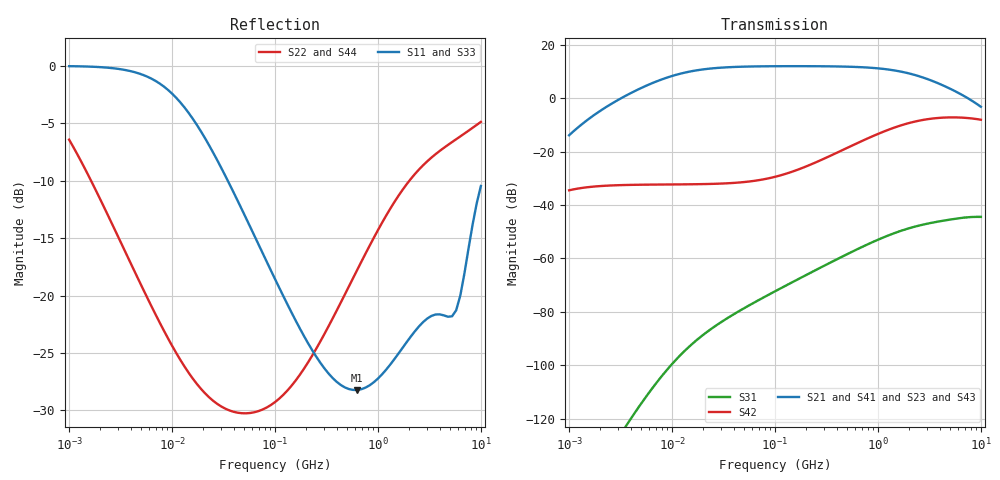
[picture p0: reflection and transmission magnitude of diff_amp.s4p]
! 4-Port simulation of a differential amplifier
! Ports:
!  1 o--| +  + |--o 2
!  |In  Out|
!  3 o--| -  - |--o 4
! This network can be used to verify the single-ended to mixed-mode conversion:
!  nw("diff_amp.s4p").s2m("P1,P2,N1,N2").plot_sel_params()
[Version] 2.0
# HZ S RI R 50
[Number of Ports] 4
[Reference] 50 50 50 50
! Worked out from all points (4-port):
!   101 points, 1 MHz to 10 GHz, reference 50 ohm
!   strongest paths, dB at 1 MHz, 10 MHz, 100 MHz, 1 GHz, 10 GHz:
!     S21: -13.9, 8.3, 12.0, 11.2, -3.2
!     S41: -13.8, 8.3, 12.0, 11.2, -3.1
!     S23: -13.7, 8.3, 11.9, 11.2, -3.2
!     S43: -13.6, 8.3, 11.9, 11.1, -3.3
!     S42: -34.5, -32.3, -29.5, -13.4, -8.1
!     S31: -159.7, -99.6, -72.3, -53.0, -44.5
!   lowest |S11| = -28.2 dB at 631 MHz (marker M1), VSWR 1.08, Z = 50.9 + j3.81 ohm
!   |S11| at or under -10 dB: 34.83 MHz to end of sweep
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[Number of Frequencies] 7
[Network Data]
1000000  0.0193 -0.9981  -5.13e-10 -7.68e-10  9.62e-09 -3.51e-09  -8.58e-09 -2.46e-08
         -0.1923 0.062  0.2102 -0.4288  0.1963 -0.0672  0.0103 0.0157
         9.7e-09 -3.58e-09  -8.87e-09 -2.51e-08  -0.0152 -0.9981  -5.6e-10 -7.8e-10
         0.1926 -0.0649  0.0103 0.0157  -0.1965 0.0702  0.1982 -0.4216
1.318257e7  -0.5091 0.4209  -1.18e-07 8.95e-08  -1.83e-05 3.9e-07  -3.72e-06 3.4e-06
            2.024 2.21  -0.0209 -0.0445  -2.046 -2.2  0.0238 0.00469
            -1.83e-05 4.11e-07  -3.71e-06 3.43e-06  -0.5028 0.4226  -1.17e-07 9.07e-08
            -2.025 -2.206  0.0239 0.00471  2.046 2.195  -0.0219 -0.0432
6.309573e8  0.0102 0.0374  -3.95e-05 3.97e-05  0.000905 0.00118  0.000146 0.000274
            3.047 -2.319  -0.0954 -0.0877  -3.041 2.316  0.1012 0.1016
            0.000905 0.00118  0.000146 0.000274  0.00838 0.0381  -3.92e-05 3.94e-05
            -3.045 2.318  0.1016 0.102  3.036 -2.314  -0.0958 -0.0868
1.44544e9  0.0331 0.0412  -2.21e-05 0.000252  0.00296 0.000167  0.000567 0.000288
           0.3389 -3.288  -0.2553 -0.00954  -0.3367 3.283  0.2779 0.0373
           0.00297 0.000169  0.000567 0.000286  0.0321 0.0428  -2.21e-05 0.000251
           -0.3386 3.286  0.2789 0.0374  0.336 -3.278  -0.2545 -0.00868
2.754229e9  0.0753 0.0143  0.000569 0.000399  0.00184 -0.00387  0.000941 -0.000336
            -2.068 -1.269  -0.1913 0.3166  2.067 1.266  0.2567 -0.2942
            0.00185 -0.00388  0.000938 -0.000337  0.0761 0.0161  0.000566 0.000397
            2.068 1.269  0.2575 -0.2954  -2.063 -1.263  -0.1901 0.3158
5.248075e9  -0.00849 -0.0807  0.000705 -0.00148  -0.00537 -0.000354  -0.000206 -0.00163
            -0.4562 1.368  0.4264 0.1885  0.455 -1.368  -0.3325 -0.2806
            -0.00538 -0.000364  -0.000207 -0.00162  -0.00694 -0.0819  0.000703 -0.00147
            0.4571 -1.37  -0.3339 -0.2813  -0.4528 1.363  0.4252 0.1876
1e10  0.1349 0.268  -0.00169 0.00297  0.00576 -0.00154  -0.000885 0.00309
      0.2835 -0.6295  -0.3773 -0.4284  -0.2848 0.6341  0.1423 0.3666
      0.00578 -0.00153  -0.000881 0.00307  0.1339 0.2695  -0.00169 0.00296
      -0.2865 0.6351  0.1432 0.3675  0.2809 -0.6272  -0.3766 -0.4275
[End]
